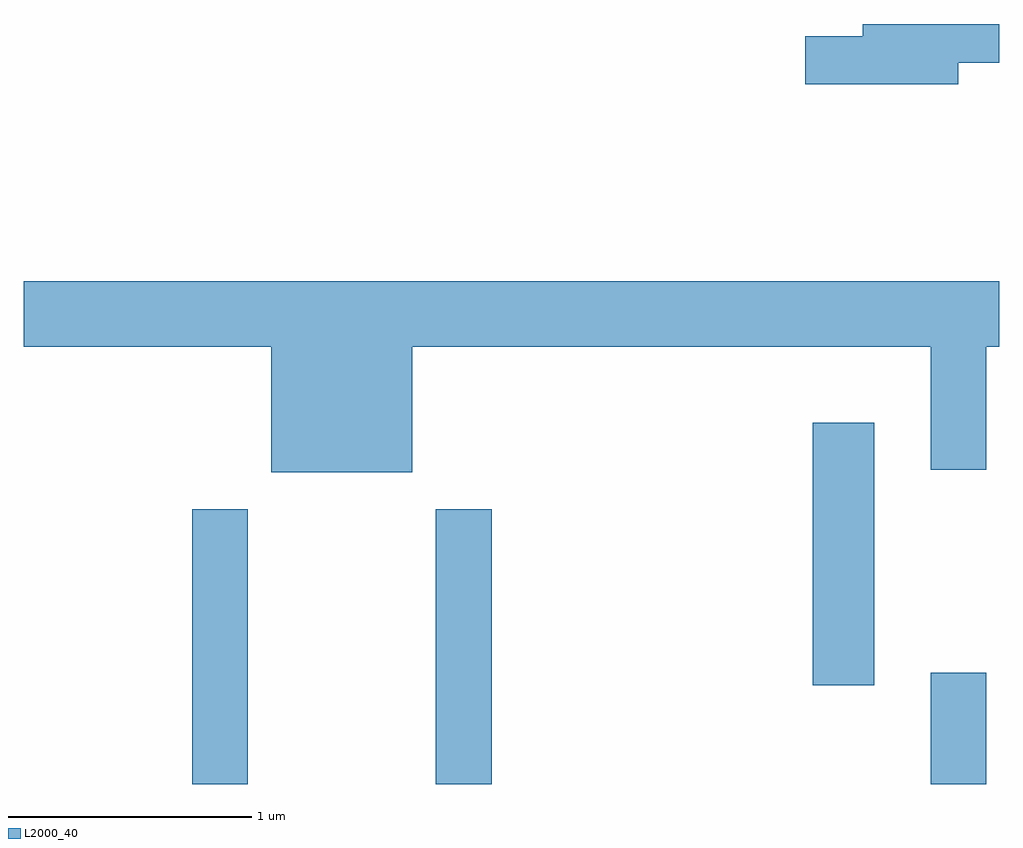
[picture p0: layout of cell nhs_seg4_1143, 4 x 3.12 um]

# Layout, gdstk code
import gdstk
lib = gdstk.Library(unit=1e-6, precision=1e-09)
def R(c, l, rs):  # rectangles x0, y0, x1, y1
    for r in rs: c.add(gdstk.rectangle(r[:2], r[2:], *l))
def P(c, l, *ps):  # polygons
    for p in ps: c.add(gdstk.Polygon(p, *l))
L2000_40 = (2000, 40)

nhs_seg4_1143 = lib.new_cell('nhs_seg4_1143')
R(nhs_seg4_1143, L2000_40, [(218.301,1363.982,218.529,1365.109), (219.301,1363.982,219.529,1365.109), (221.331,1363.982,221.559,1364.439), (220.846,1364.386,221.099,1365.464)])
P(nhs_seg4_1143, L2000_40, [(221.444,1366.941),(221.611,1366.941),(221.611,1367.099),(221.051,1367.099),(221.051,1367.049),(220.816,1367.049),(220.816,1366.851),(221.444,1366.851)],
  [(219.204,1365.776),(221.331,1365.776),(221.331,1365.271),(221.559,1365.271),(221.559,1365.776),(221.611,1365.776),(221.611,1366.044),(217.611,1366.044),(217.611,1365.776),(218.626,1365.776),(218.626,1365.261),(219.204,1365.261)])

lib.write_gds('nhs_seg4_1143.gds')
